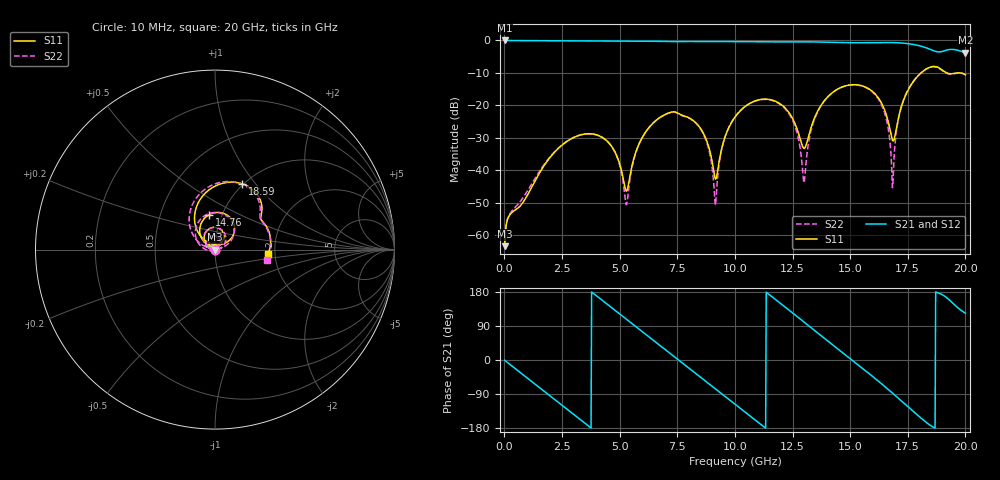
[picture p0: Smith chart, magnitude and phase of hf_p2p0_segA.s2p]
! Stitch-density study - 40 x 12 mm symmetric stripline, cut at x=20 mm
! Case: hf_p2p0_segA
! Sweep: 10 MHz - 20 GHz, 25 MHz step, 4 cores
# GHz S MA R 50.000000
! Terminal data exported
! Port[1] = U1.PAD1.SIG
! Port[2] = U2.PAD1.SIG
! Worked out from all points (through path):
!   801 points, 10 MHz to 20 GHz, reference 50 ohm
!   highest |S21| = -0.01 dB at 10 MHz (marker M1); lowest = -3.8 dB at 20 GHz (marker M2)
!   group delay of S21, straight-line fit = 133 ps
!   lowest |S11| = -63.4 dB at 10 MHz (marker M3), VSWR 1.00, Z = 50.1 + j0.0157 ohm
!   |S11| at or under -10 dB: start of sweep to 18.08 GHz; 19.19 GHz to 19.68 GHz (487.3 MHz wide, 2.51 % of centre); 19.78 GHz to end of sweep
!   |S22| runs from -63.4 to -8.1 dB; largest |S21 - S12| = 1.4e-13
!   S11 on the Smith chart (normalised r, x): 10 MHz: 1.00, +0.00; 14.76 GHz: 0.87, +0.35; 18.59 GHz: 0.98, +0.86; 20 GHz: 1.83, -0.10
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0.01  0.0006767 13.4  0.9993 -0.5  0.9993 -0.5  0.0006768 13.4
1.735  0.01197 -167.6  0.9892 -83.0  0.9892 -83.0  0.01244 -156.2
3.36  0.03545 108.6  0.9825 -160.3  0.9825 -160.3  0.03541 112.1
4.635  0.02381 54.8  0.9785 139.0  0.9785 139.0  0.02355 45.4
5.285  0.004779 99.1  0.9767 108.1  0.9767 108.1  0.00294 -61.6
5.81  0.02399 158.4  0.9747 83.0  0.9747 83.0  0.02372 -177.4
6.685  0.06265 125.5  0.9696 41.3  0.9696 41.3  0.0626 135.5
8.41  0.04902 50.6  0.9637 -40.3  0.9637 -40.3  0.04827 51.8
9.16  0.007315 94.8  0.9617 -76.3  0.9617 -76.3  0.002919 109.8
9.51  0.02772 158.4  0.9615 -93.0  0.9615 -93.0  0.02781 170.8
10.01  0.06632 145.5  0.9589 -116.9  0.9589 -116.9  0.06673 151.1
11.585  0.1212 79.9  0.9501 168.2  0.9501 168.2  0.1199 77.0
12.51  0.06198 48.3  0.9523 123.9  0.9523 123.9  0.05803 28.8
12.985  0.02179 89.5  0.9521 100.9  0.9521 100.9  0.00655 -61.9
13.36  0.05188 144.2  0.9495 82.6  0.9495 82.6  0.04864 -178.9
14.76  0.1977 99.2  0.9262 15.1  0.9262 15.1  0.1972 107.2
16.06  0.1526 44.5  0.927 -47.6  0.927 -47.6  0.1483 43.8
16.685  0.04987 37.7  0.9294 -79.4  0.9294 -79.4  0.03689 16.8
16.86  0.02822 81.7  0.9269 -88.5  0.9269 -88.5  0.006287 127.3
17.385  0.1373 134.1  0.9028 -116.5  0.9028 -116.5  0.1399 147.8
18.585  0.3964 67.7  0.7019 -176.5  0.7019 -176.5  0.3937 70.3
20  0.2956 -5.0  0.6468 123.5  0.6468 123.5  0.297 -11.7
